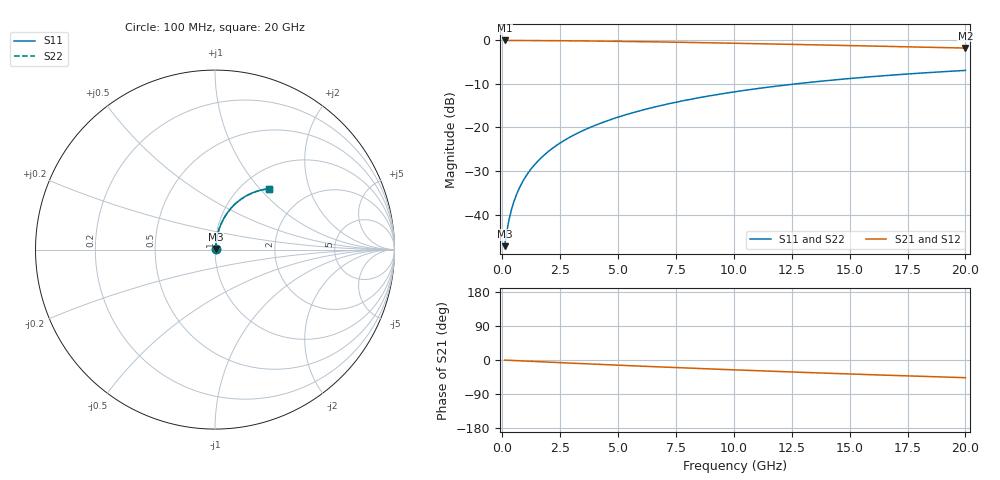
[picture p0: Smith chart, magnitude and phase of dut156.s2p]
! Touchstone file exported from HFSS 2024.1.0
!  File:  C:/UserFiles/LocalFiles/RDL_TSV_Batchsim/temp_RDL_top_156_1778685330.aedt
!  Generated:  11:17:30 PM May 13, 2026
!  Design:  RDL_top
!  Project:  temp_RDL_top_156_1778685330
!  Setup:  Setup1
!  Solution:  Sweep
! Variables:
!  dtsv = 10.80580581um
!  hbump = 3um
!  htsv = 91.03um
!  ldown = 100um
!  lrdl = 661.38um
!  p = 40
!  p1 = 47.36um
!  rhole = 1um
!  t = 450um
!  tdown = 3.915915916um
!  trdl = 4.76um
!  wdown = 15.38538539um
!  wrdl = 15.24um
# GHz S MA R 50.000000
! Terminal data exported
! Port[1] = Box2_T1
! Port[2] = Box2_T2
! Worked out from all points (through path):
!   200 points, 100 MHz to 20 GHz, reference 50 ohm
!   highest |S21| = -0.03 dB at 100 MHz (marker M1); lowest = -1.8 dB at 20 GHz (marker M2)
!   group delay of S21, straight-line fit = 6.46 ps
!   lowest |S11| = -47.2 dB at 100 MHz (marker M3), VSWR 1.01, Z = 50.3 + j0.282 ohm
!   |S11| at or under -10 dB: start of sweep to 12.66 GHz
!   |S22| runs from -47.2 to -6.9 dB; largest |S21 - S12| = 4.5e-15
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0.1  0.004346 40.2  0.9967 -0.3  0.9967 -0.3  0.004346 40.2
! Gamma 0 0 0 0
! Port Impedance 50 0 50 0
0.2  0.006538 58.1  0.9965 -0.6  0.9965 -0.6  0.006538 58.1
0.3  0.008993 66.3  0.9964 -0.9  0.9964 -0.9  0.008993 66.3
0.4  0.01152 70.9  0.9962 -1.1  0.9962 -1.1  0.01152 70.9
0.5  0.01407 73.8  0.9961 -1.4  0.9961 -1.4  0.01407 73.8
0.6  0.01664 75.8  0.9959 -1.7  0.9959 -1.7  0.01664 75.8
0.8  0.02183 78.3  0.9956 -2.3  0.9956 -2.3  0.02183 78.3
1.1  0.02966 80.2  0.995 -3.1  0.995 -3.1  0.02966 80.2
1.5  0.04017 81.3  0.9939 -4.2  0.9939 -4.2  0.04017 81.3
1.8  0.04805 81.5  0.9929 -5.1  0.9929 -5.1  0.04805 81.5
2.1  0.05594 81.5  0.9918 -5.9  0.9918 -5.9  0.05594 81.5
2.7  0.07168 81.1  0.989 -7.5  0.989 -7.5  0.07168 81.1
3.5  0.09258 80.1  0.9845 -9.7  0.9845 -9.7  0.09257 80.1
4.2  0.1108 79.1  0.9799 -11.6  0.9799 -11.6  0.1108 79.0
5  0.1314 77.7  0.9739 -13.7  0.9739 -13.7  0.1314 77.7
5.9  0.1545 76.1  0.9665 -16.0  0.9665 -16.0  0.1545 76.1
6.8  0.1773 74.4  0.9585 -18.3  0.9585 -18.3  0.1773 74.4
8.4  0.2172 71.3  0.943 -22.2  0.943 -22.2  0.2171 71.3
10.1  0.2582 67.9  0.9253 -26.2  0.9253 -26.2  0.2581 67.9
13.4  0.332 61.2  0.8889 -33.6  0.8889 -33.6  0.3318 61.2
16.7  0.3967 54.7  0.8516 -40.4  0.8516 -40.4  0.3965 54.7
20  0.4516 48.6  0.8151 -46.7  0.8151 -46.7  0.4514 48.6
